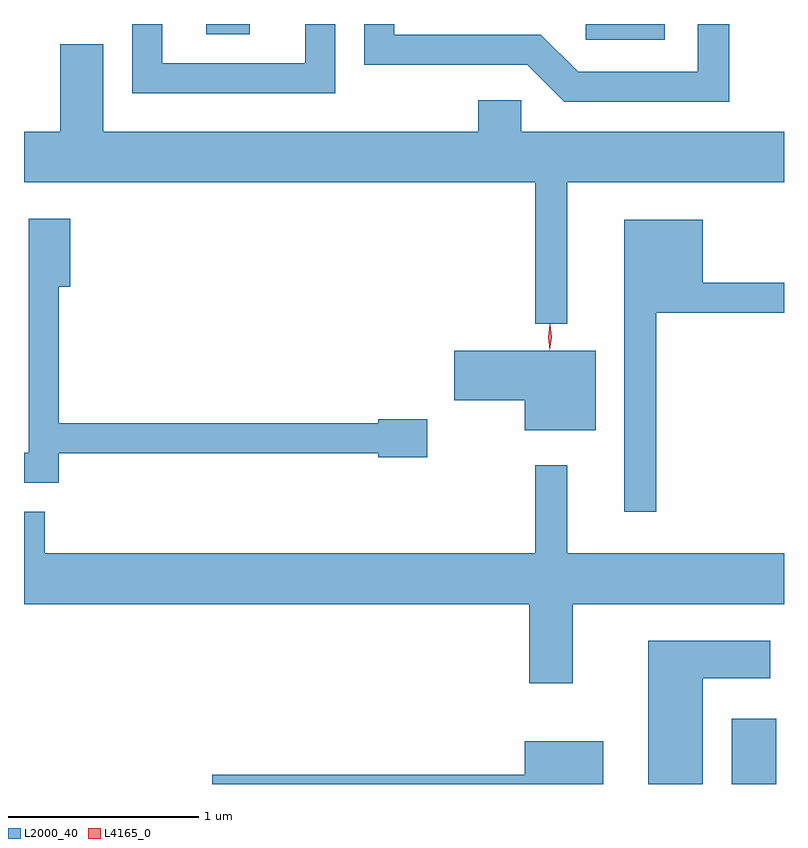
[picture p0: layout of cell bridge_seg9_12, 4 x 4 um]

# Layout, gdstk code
import gdstk
lib = gdstk.Library(unit=1e-6, precision=1e-09)
def R(c, l, rs):  # rectangles x0, y0, x1, y1
    for r in rs: c.add(gdstk.rectangle(r[:2], r[2:], *l))
def P(c, l, *ps):  # polygons
    for p in ps: c.add(gdstk.Polygon(p, *l))
L2000_40 = (2000, 40)
L4165_0 = (4165, 0)

bridge_seg9_12 = lib.new_cell('bridge_seg9_12')
R(bridge_seg9_12, L2000_40, [(1721.916,2013.07,1722.149,2013.414), (1721.148,2016.986,1721.564,2017.07), (1719.151,2017.016,1719.379,2017.07)])
P(bridge_seg9_12, L2000_40, [(1719.829,2017.07),(1719.671,2017.07),(1719.671,2016.864),(1718.919,2016.864),(1718.919,2017.07),(1718.761,2017.07),(1718.761,2016.706),(1719.829,2016.706)],
  [(1721.904,2017.07),(1721.736,2017.07),(1721.736,2016.819),(1721.107,2016.819),(1720.912,2017.014),(1720.139,2017.014),(1720.139,2017.07),(1719.981,2017.07),(1719.981,2016.856),(1720.839,2016.856),(1721.034,2016.661),(1721.904,2016.661)],
  [(1721.049,2016.236),(1722.191,2016.236),(1722.191,2016.504),(1720.809,2016.504),(1720.809,2016.669),(1720.581,2016.669),(1720.581,2016.504),(1718.609,2016.504),(1718.609,2016.964),(1718.381,2016.964),(1718.381,2016.504),(1718.191,2016.504),(1718.191,2016.236),(1720.881,2016.236),(1720.881,2015.493),(1721.049,2015.493)],
  [(1718.374,2014.811),(1720.056,2014.811),(1720.056,2014.791),(1720.314,2014.791),(1720.314,2014.989),(1720.056,2014.989),(1720.056,2014.969),(1718.374,2014.969),(1718.374,2015.686),(1718.434,2015.686),(1718.434,2016.044),(1718.216,2016.044),(1718.216,2014.814),(1718.191,2014.814),(1718.191,2014.656),(1718.374,2014.656)],
  [(1721.519,2015.551),(1722.191,2015.551),(1722.191,2015.709),(1721.764,2015.709),(1721.764,2016.039),(1721.351,2016.039),(1721.351,2014.503),(1721.519,2014.503)],
  [(1721.199,2015.349),(1720.456,2015.349),(1720.456,2015.091),(1720.826,2015.091),(1720.826,2014.931),(1721.199,2014.931)],
  [(1721.079,2014.016),(1722.191,2014.016),(1722.191,2014.284),(1721.049,2014.284),(1721.049,2014.748),(1720.881,2014.748),(1720.881,2014.284),(1718.299,2014.284),(1718.299,2014.504),(1718.191,2014.504),(1718.191,2014.016),(1720.851,2014.016),(1720.851,2013.601),(1721.079,2013.601)],
  [(1721.764,2013.626),(1722.119,2013.626),(1722.119,2013.824),(1721.476,2013.824),(1721.476,2013.07),(1721.764,2013.07)],
  [(1721.239,2013.294),(1720.826,2013.294),(1720.826,2013.119),(1719.181,2013.119),(1719.181,2013.07),(1721.239,2013.07)])
P(bridge_seg9_12, L4165_0, [(1720.958,2015.354),(1720.958,2015.354),(1720.949,2015.422),(1720.959,2015.49),(1720.96,2015.49),(1720.96,2015.49),(1720.969,2015.422),(1720.959,2015.354)],
  [(1720.958,2015.36),(1720.957,2015.361),(1720.949,2015.424),(1720.959,2015.486),(1720.96,2015.487),(1720.96,2015.486),(1720.969,2015.423),(1720.958,2015.361)])

lib.write_gds('bridge_seg9_12.gds')
